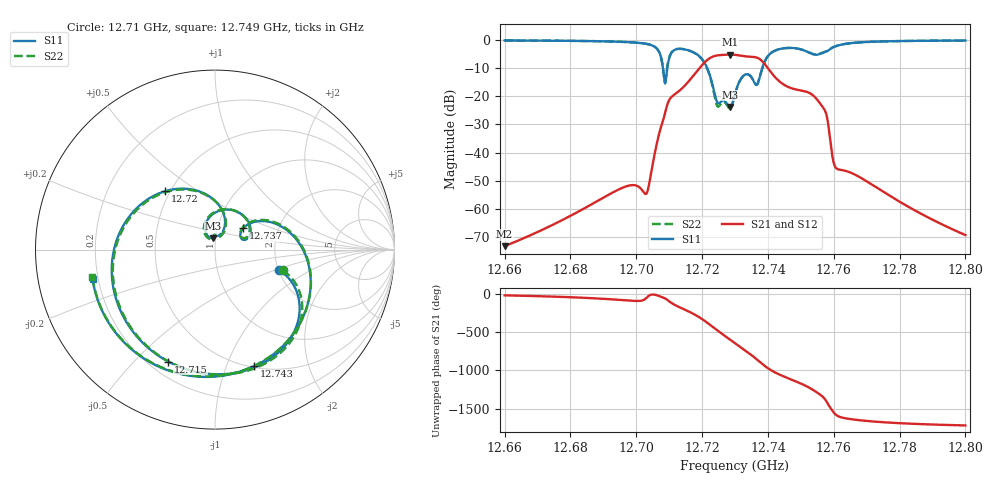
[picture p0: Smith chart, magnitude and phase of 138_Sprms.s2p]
! TOUCHSTONE file generated by CST MICROWAVE STUDIO
! Date and time: Wed Jul 31 17:47:01 2024
! Project name: WaveGuide_BPF-Ver4.1_U-shape_Ku_T3_C4_CWA_2.cst
! Parameters = {cavity_h=16; cavity_l0=10; cavity_l1=15.2022; cavity_l2=16.8332; cavity_l3=17.0842; cavity_l4=17.2837; cavity_l5=17.1386; cavity_l6=17.5604; cavity_r=2.5; cavity_screw_l=0.5; cavity_screw_r=1.5; cavity_w=8; iris_h00=0; iris_h01=8.8128; iris_h112=0; iris_h12=5.59; iris_h211=3.6689; ir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
! Header version: 2018
! Port assignment regex: !\s*Touchstone port\s*([0-9]+)\s*=\s*(CST MWS port|CST DS port)\s*([0-9]+|Zmin|Zmax)\s*\(\"(.*)\"\)(\s*mode\s*([0-9]+))?.*
! Touchstone port assignment:
! Touchstone port 1 = CST MWS port 1 ("")
! Touchstone port 2 = CST MWS port 2 ("")
# GHz S RI R 50
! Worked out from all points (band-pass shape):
!   5001 points, 12.66 GHz to 12.8 GHz, reference 50 ohm
!   highest |S21| = -5.19 dB at 12.728 GHz (marker M1); lowest = -73.3 dB at 12.66 GHz (marker M2)
!   |S21| within 3 dB of the highest: 12.72058 GHz to 12.73877 GHz (18.19 MHz wide, 0.143 % of centre)
!   lowest |S11| = -23.8 dB at 12.728 GHz (marker M3), VSWR 1.14, Z = 48.5 + j6.21 ohm
!   |S11| at or under -10 dB: 12.70813 GHz to 12.70942 GHz (1.29 MHz wide, 0.0102 % of centre); 12.72156 GHz to 12.73827 GHz (16.7 MHz wide, 0.131 % of centre)
!   |S22| runs from -24.6 to -0.2 dB; largest |S21 - S12| = 1e-09
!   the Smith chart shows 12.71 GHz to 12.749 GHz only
!   S11 on the Smith chart (normalised r, x): 12.71 GHz: 2.01, -0.54; 12.715 GHz: 0.27, -0.63; 12.72 GHz: 0.47, +0.37; 12.737 GHz: 1.33, +0.33; 12.743 GHz: 0.51, -1.26; 12.749 GHz: 0.18, -0.11
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12.66  0.2995 0.935  0.000201 -7.96e-05  0.000201 -7.96e-05  0.2988 0.9353
12.68335  0.702 0.6573  0.000589 -0.000751  0.000589 -0.000751  0.698 0.6623
12.70295  0.7657 -0.383  0.000909 -0.0016  0.000909 -0.0016  0.7766 -0.3645
12.70668  0.2565 -0.6017  0.0168 -0.00806  0.0168 -0.00806  0.2756 -0.5921
12.70962  0.3564 -0.1143  0.00475 -0.0761  0.00475 -0.0761  0.3776 -0.116
12.71499  -0.2613 -0.6236  -0.1344 0.087  -0.1344 0.087  -0.2417 -0.6319
12.72034  -0.2797 0.3249  0.3566 0.1214  0.3566 0.1214  -0.2759 0.3198
12.72409  0.0334 0.0886  -0.1037 -0.5143  -0.1037 -0.5143  0.0334 0.0767
12.72843  -0.0101 0.0638  -0.2921 0.4663  -0.2921 0.4663  -0.011 0.0578
12.72846  -0.0108 0.0637  -0.285 0.4707  -0.285 0.4707  -0.0117 0.0576
12.73  -0.0523 0.0984  0.153 0.5231  0.153 0.5231  -0.0578 0.0899
12.73291  0.0948 0.2204  0.4965 -0.137  0.4965 -0.137  0.0815 0.2242
12.73521  0.1932 0.0781  0.015 -0.5018  0.015 -0.5018  0.1894 0.0885
12.73731  0.1582 0.1197  -0.4448 -0.1403  -0.4448 -0.1403  0.1569 0.1255
12.7396  0.4793 0.0197  -0.1623 0.296  -0.1623 0.296  0.4782 0.0291
12.7433  0.2175 -0.6499  0.1654 0.0896  0.1654 0.0896  0.2212 -0.6459
12.74921  -0.6823 -0.162  0.0294 -0.1263  0.0294 -0.1263  -0.6833 -0.1529
12.75335  -0.0967 0.5594  -0.1048 -0.0247  -0.1048 -0.0247  -0.0973 0.5664
12.75677  0.5953 -0.0425  -0.000111 0.063  -0.000111 0.063  0.5998 -0.0196
12.76189  0.0643 -0.8152  -0.00485 -0.000946  -0.00485 -0.000946  0.0877 -0.8105
12.77668  -0.8787 -0.3615  -0.000816 0.00155  -0.000816 0.00155  -0.8756 -0.3672
12.8  -0.953 0.2259  5.82e-05 0.000336  5.82e-05 0.000336  -0.9527 0.2265
